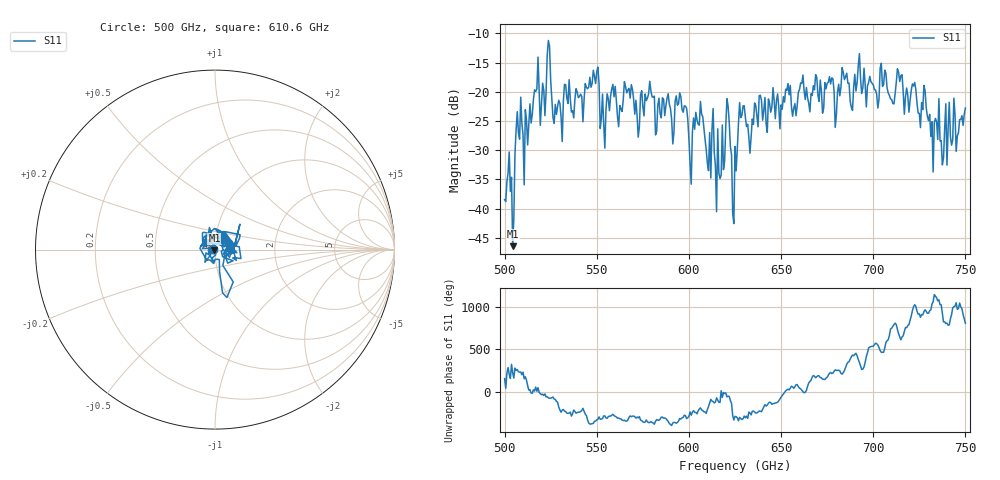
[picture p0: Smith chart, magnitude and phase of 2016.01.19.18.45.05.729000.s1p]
!Created with skrf (http://scikit-rf.org).
# GHz S RI R 50.0
!freq ReS11 ImS11
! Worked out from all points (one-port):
!   401 points, 500 GHz to 750 GHz, reference 50 ohm
!   lowest |S11| = -46.4 dB at 504.4 GHz (marker M1), VSWR 1.01, Z = 49.7 - j0.335 ohm
!   |S11| at or under -10 dB: start of sweep to end of sweep
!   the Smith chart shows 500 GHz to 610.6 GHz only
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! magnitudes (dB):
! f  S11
! 500 GHz  -38.5
! 504.4 GHz  -46.4
! 507.5 GHz  -27.0
! 511.9 GHz  -24.9
! 516.9 GHz  -19.9
! 520.6 GHz  -18.5
! 523.8 GHz  -11.2
! 526.9 GHz  -25.4
! 531.2 GHz  -28.5
! 549.4 GHz  -18.6
! 553.1 GHz  -20.4
! 558.8 GHz  -18.7
! 562.5 GHz  -22.3
! 566.2 GHz  -20.2
! 571.9 GHz  -24.1
! 593.8 GHz  -22.3
! 600.6 GHz  -32.3
! 606.9 GHz  -23.8
! 616.2 GHz  -33.9
! 621.2 GHz  -22.5
! 625 GHz  -29.4
! 628.8 GHz  -24.0
! 632.5 GHz  -27.7
! 656.2 GHz  -24.2
! 687.5 GHz  -21.6
! 718.8 GHz  -20.6
! 737.5 GHz  -32.5
! 750 GHz  -22.8
